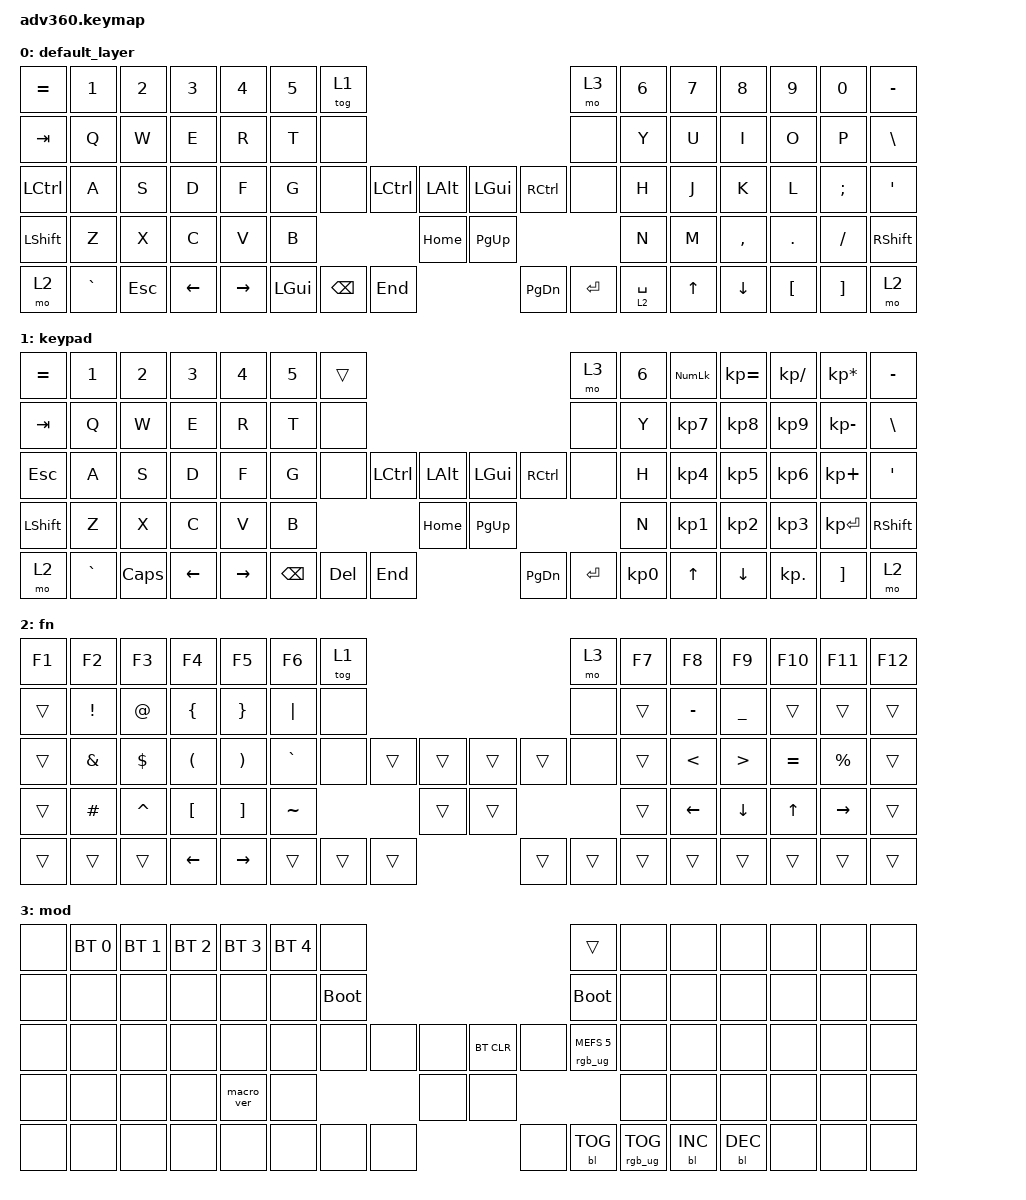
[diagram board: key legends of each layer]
#include <behaviors.dtsi>
#include <dt-bindings/zmk/keys.h>
#include <dt-bindings/zmk/bt.h>
#include <dt-bindings/zmk/rgb.h>
#include <dt-bindings/zmk/backlight.h>

// Layer tap for space key, becomes a modifier for fn layer
&lt {
    quick_tap_ms = <200>;
};

// TODO perhaps map 1/2 to rectangle display switching
// TOOD maps fn to rectangle window alignment prefix
// Inspired by https://github.com/fatih/Adv360-Pro-ZMK/blob/V3.0/config/adv360.keymap#L78


/ {
    behaviors {
      #include "macros.dtsi"
      #include "version.dtsi"
      #ifndef VERSION_MACRO
      macro_ver: macro_ver {
        compatible = "zmk,behavior-macro";
        label = "macro_version";
        #binding-cells = <0>;
        bindings = <&kp RET>;
      };
      #endif

      hm: homerow_mods {
          compatible = "zmk,behavior-hold-tap";
          label = "HOMEROW_MODS";
          #binding-cells = <2>;
          tapping-term-ms = <200>;
          quick_tap_ms = <175>;
          flavor = "tap-preferred";
          bindings = <&kp>, <&kp>;
      };
    };

  keymap {
    compatible = "zmk,keymap";

    default_layer {
      bindings = <
        &kp EQUAL  &kp N1    &kp N2   &kp N3   &kp N4     &kp N5 &tog 1                                                              &mo 3 &kp N6 &kp N7 &kp N8    &kp N9   &kp N0   &kp MINUS
        &kp TAB    &kp Q     &kp W    &kp E    &kp R      &kp T  &none                                                               &none &kp Y  &kp U  &kp I     &kp O    &kp P    &kp BSLH
        &kp LCTRL  &kp A     &kp S    &kp D    &kp F      &kp G  &none            &kp LCTRL &kp LALT &kp LGUI  &kp RCTRL             &none &kp H  &kp J  &kp K     &kp L    &kp SEMI &kp SQT
        &kp LSHFT  &kp Z     &kp X    &kp C    &kp V      &kp B                             &kp HOME &kp PG_UP                             &kp N  &kp M  &kp COMMA &kp DOT  &kp FSLH &kp RSHFT
        &mo 2      &kp GRAVE &kp ESC &kp LEFT &kp RIGHT                &kp LGUI &kp BSPC   &kp END  &kp PG_DN &kp ENTER &lt 2 SPACE              &kp UP &kp DOWN  &kp LBKT &kp RBKT &mo 2
      >;
    };
    keypad {
      bindings = <
        &kp EQUAL &kp N1    &kp N2   &kp N3   &kp N4     &kp N5 &trans                                                           &mo 3 &kp N6 &kp KP_NUM &kp KP_EQUAL &kp KP_DIVIDE &kp KP_MULTIPLY &kp MINUS
        &kp TAB   &kp Q     &kp W    &kp E    &kp R      &kp T  &none                                                            &none &kp Y  &kp KP_N7  &kp KP_N8    &kp KP_N9     &kp KP_MINUS    &kp BSLH
        &kp ESC   &kp A     &kp S    &kp D    &kp F      &kp G  &none           &kp LCTRL &kp LALT &kp LGUI  &kp RCTRL           &none &kp H  &kp KP_N4  &kp KP_N5    &kp KP_N6     &kp KP_PLUS     &kp SQT
        &kp LSHFT &kp Z     &kp X    &kp C    &kp V      &kp B                            &kp HOME &kp PG_UP                           &kp N  &kp KP_N1  &kp KP_N2    &kp KP_N3     &kp KP_ENTER    &kp RSHFT
        &mo 2     &kp GRAVE &kp CAPS &kp LEFT &kp RIGHT                &kp BSPC &kp DEL   &kp END  &kp PG_DN &kp ENTER &kp KP_N0              &kp UP     &kp DOWN     &kp KP_DOT    &kp RBKT        &mo 2
      >;
    };
    fn {
      bindings = <
        &kp F1 &kp F2     &kp F3     &kp F4     &kp F5     &kp F6      &tog 1                                             &mo 3  &kp F7               &kp F8                 &kp F9               &kp F10             &kp F11      &kp F12
        &trans &kp EXCL   &kp AT     &kp LBRC   &kp RBRC   &kp PIPE    &none                                              &none  &trans               &kp MINUS              &kp UNDER            &trans              &trans       &trans    
        &trans &kp AMPS   &kp DOLLAR &kp LPAR   &kp RPAR   &kp GRAVE   &none          &trans &trans &trans &trans         &none  &trans               &kp LT                 &kp GT               &kp EQUAL           &kp PERCENT  &trans
        &trans &kp HASH   &kp CARET  &kp LBKT   &kp RBKT   &kp TILDE                         &trans &trans                       &trans               &kp LEFT               &kp DOWN             &kp UP              &kp RIGHT    &trans
        &trans &trans     &trans     &kp LEFT   &kp RIGHT                         &trans &trans &trans &trans &trans &trans                           &trans                 &trans               &trans              &trans       &trans
      >;
    };
    mod {
      bindings = <
        &none &bt BT_SEL 0 &bt BT_SEL 1 &bt BT_SEL 2 &bt BT_SEL 3 &bt BT_SEL 4 &none                                                                     &trans                 &none        &none        &none        &none &none &none
        &none &none        &none        &none        &none        &none        &bootloader                                                               &bootloader            &none        &none        &none        &none &none &none
        &none &none        &none        &none        &none        &none        &none                   &none &none &bt BT_CLR &none                      &rgb_ug RGB_MEFS_CMD 5 &none        &none        &none        &none &none &none
        &none &none        &none        &none        &macro_ver   &none                                      &none &none                                                        &none        &none        &none        &none &none &none
        &none &none        &none        &none        &none                                       &none &none &none &none      &bl BL_TOG &rgb_ug RGB_TOG                                     &bl BL_INC   &bl BL_DEC   &none &none &none
      >;
    };
  };
};
